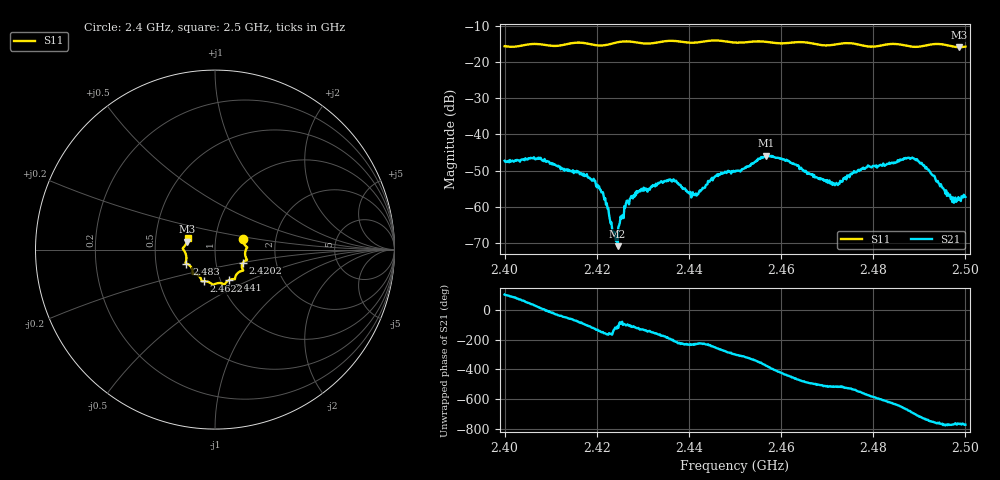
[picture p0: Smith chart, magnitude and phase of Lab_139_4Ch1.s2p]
# Hz S RI R 50
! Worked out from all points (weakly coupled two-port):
!   601 points, 2.4 GHz to 2.5 GHz, reference 50 ohm
!   highest |S21| = -45.90 dB at 2.4567 GHz (marker M1); lowest = -71.0 dB at 2.4245 GHz (marker M2)
!   lowest |S11| = -15.8 dB at 2.4987 GHz (marker M3), VSWR 1.39, Z = 36.4 + j3.29 ohm
!   |S11| at or under -10 dB: start of sweep to end of sweep
!   S12 and S22 are empty: the file has one direction only
!   S11 on the Smith chart (normalised r, x): 2.4 GHz: 1.36, +0.17; 2.4202 GHz: 1.35, -0.20; 2.441 GHz: 1.10, -0.39; 2.4622 GHz: 0.83, -0.30; 2.483 GHz: 0.72, -0.12; 2.5 GHz: 0.73, +0.09
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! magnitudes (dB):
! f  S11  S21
! 2.4 GHz  -15.5  -47.3
! 2.4073 GHz  -14.9  -46.4
! 2.4167 GHz  -14.6  -51.1
! 2.4202 GHz  -15.3  -53.9
! 2.4217 GHz  -15.3  -58.1
! 2.424 GHz  -14.6  -68.5
! 2.4245 GHz  -14.4  -71.0
! 2.427 GHz  -14.2  -59.4
! 2.4333 GHz  -14.4  -53.4
! 2.437 GHz  -14.1  -53.0
! 2.441 GHz  -14.6  -56.7
! 2.45 GHz  -14.5  -50.3
! 2.4567 GHz  -14.3  -45.9
! 2.4622 GHz  -14.5  -47.8
! 2.4667 GHz  -14.7  -51.2
! 2.4722 GHz  -15.0  -53.7
! 2.483 GHz  -15.0  -48.1
! 2.4833 GHz  -15.0  -48.1
! 2.489 GHz  -15.7  -46.9
! 2.497 GHz  -15.5  -57.4
! 2.4987 GHz  -15.8  -58.1
! 2.5 GHz  -15.6  -57.3
